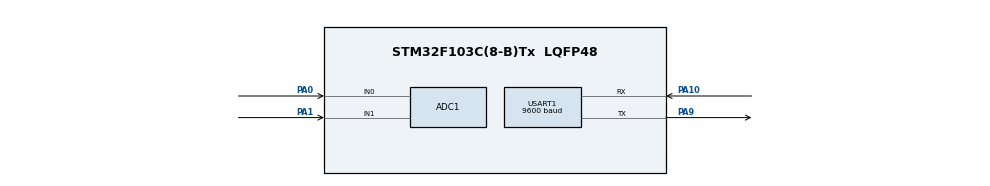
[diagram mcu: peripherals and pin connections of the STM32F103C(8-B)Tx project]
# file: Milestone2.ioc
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ADC1.Channel-0\#ChannelRegularConversion=ADC_CHANNEL_0
ADC1.ContinuousConvMode=DISABLE
ADC1.NbrOfConversionFlag=1
ADC1.Rank-0\#ChannelRegularConversion=1
ADC1.SamplingTime-0\#ChannelRegularConversion=ADC_SAMPLETIME_1CYCLE_5
ADC1.master=1
Mcu.Family=STM32F1
Mcu.Name=STM32F103C(8-B)Tx
Mcu.Package=LQFP48
NVIC.PriorityGroup=NVIC_PRIORITYGROUP_4
PA0-WKUP.Signal=ADCx_IN0
PA1.Signal=ADCx_IN1
PA10.Mode=Asynchronous
PA10.Signal=USART1_RX
PA9.Mode=Asynchronous
PA9.Signal=USART1_TX
ProjectManager.HeapSize=0x200
ProjectManager.StackSize=0x400
ProjectManager.TargetToolchain=STM32CubeIDE
RCC.APB1Freq_Value=8000000
RCC.APB2Freq_Value=8000000
SH.ADCx_IN0.0=ADC1_IN0,IN0
SH.ADCx_IN1.0=ADC1_IN1,IN1
USART1.BaudRate=9600
USART1.VirtualMode=VM_ASYNC
VP_SYS_VS_ND.Mode=No_Debug
board=custom

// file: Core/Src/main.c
/* USER CODE BEGIN Header */
/**
  ******************************************************************************
  * @file           : main.c
  * @brief          : Main program body
  ******************************************************************************
  * @attention
  *
  * Copyright (c) 2026 STMicroelectronics.
  * All rights reserved.
  *
  * This software is licensed under terms that can be found in the LICENSE file
  * in the root directory of this software component.
  * If no LICENSE file comes with this software, it is provided AS-IS.
  *
  ******************************************************************************
  */
/* USER CODE END Header */
#include "main.h"

/* USER CODE BEGIN Includes */
#include <stdio.h>
#include <string.h>

/* USER CODE END Includes */

ADC_HandleTypeDef hadc1;

UART_HandleTypeDef huart1;

void SystemClock_Config(void);
static void MX_GPIO_Init(void);
static void MX_ADC1_Init(void);
static void MX_USART1_UART_Init(void);

int main(void)
{

  /* MCU Configuration--------------------------------------------------------*/

  /* Reset of all peripherals, Initializes the Flash interface and the Systick. */
  HAL_Init();

  /* Configure the system clock */
  SystemClock_Config();

  /* Initialize all configured peripherals */
  MX_GPIO_Init();
  MX_ADC1_Init();
  MX_USART1_UART_Init();

  /* Infinite loop */
  while (1)
  {

    /* USER CODE BEGIN 3 */
	  {
	    ADC_ChannelConfTypeDef sConfig = {0};

	    // 1. Manually point the ADC to Channel 0 (Engine Temp)
	    sConfig.Channel = ADC_CHANNEL_0;
	    sConfig.Rank = 1;
	    sConfig.SamplingTime = ADC_SAMPLETIME_71CYCLES_5;
	    HAL_ADC_ConfigChannel(&hadc1, &sConfig);

	    // Read Engine Temp
	    HAL_ADC_Start(&hadc1);
	    HAL_ADC_PollForConversion(&hadc1, 100);
	    uint32_t raw_temp = HAL_ADC_GetValue(&hadc1);
	    HAL_ADC_Stop(&hadc1);

	    // 2. Manually point the ADC to Channel 1 (Throttle Position)
	    sConfig.Channel = ADC_CHANNEL_1;
	    HAL_ADC_ConfigChannel(&hadc1, &sConfig);

	    // Read Throttle
	    HAL_ADC_Start(&hadc1);
	    HAL_ADC_PollForConversion(&hadc1, 100);
	    uint32_t raw_throttle = HAL_ADC_GetValue(&hadc1);
	    HAL_ADC_Stop(&hadc1);

	    // 3. Scale the values
	    uint32_t engine_temp = (raw_temp * 150) / 4095;
	    uint32_t throttle = (raw_throttle * 100) / 4095;

	    // 4. Format into text and send via UART
	    char buffer[100];
	    int text_length = sprintf(buffer, "Engine Temp = %lu C | Throttle = %lu %%\r\n", engine_temp, throttle);
	    HAL_UART_Transmit(&huart1, (uint8_t*)buffer, text_length, 1000);

	    // 5. Short delay so it feels instantly "live"
	    HAL_Delay(100);
	  }
  }
  /* USER CODE END 3 */
}

void SystemClock_Config(void)
{
  RCC_OscInitTypeDef RCC_OscInitStruct = {0};
  RCC_ClkInitTypeDef RCC_ClkInitStruct = {0};
  RCC_PeriphCLKInitTypeDef PeriphClkInit = {0};

  /** Initializes the RCC Oscillators according to the specified parameters
  * in the RCC_OscInitTypeDef structure.
  */
  RCC_OscInitStruct.OscillatorType = RCC_OSCILLATORTYPE_HSI;
  RCC_OscInitStruct.HSIState = RCC_HSI_ON;
  RCC_OscInitStruct.HSICalibrationValue = RCC_HSICALIBRATION_DEFAULT;
  RCC_OscInitStruct.PLL.PLLState = RCC_PLL_NONE;
  if (HAL_RCC_OscConfig(&RCC_OscInitStruct) != HAL_OK)
  {
    Error_Handler();
  }

  /** Initializes the CPU, AHB and APB buses clocks
  */
  RCC_ClkInitStruct.ClockType = RCC_CLOCKTYPE_HCLK|RCC_CLOCKTYPE_SYSCLK
                              |RCC_CLOCKTYPE_PCLK1|RCC_CLOCKTYPE_PCLK2;
  RCC_ClkInitStruct.SYSCLKSource = RCC_SYSCLKSOURCE_HSI;
  RCC_ClkInitStruct.AHBCLKDivider = RCC_SYSCLK_DIV1;
  RCC_ClkInitStruct.APB1CLKDivider = RCC_HCLK_DIV1;
  RCC_ClkInitStruct.APB2CLKDivider = RCC_HCLK_DIV1;

  if (HAL_RCC_ClockConfig(&RCC_ClkInitStruct, FLASH_LATENCY_0) != HAL_OK)
  {
    Error_Handler();
  }
  PeriphClkInit.PeriphClockSelection = RCC_PERIPHCLK_ADC;
  PeriphClkInit.AdcClockSelection = RCC_ADCPCLK2_DIV2;
  if (HAL_RCCEx_PeriphCLKConfig(&PeriphClkInit) != HAL_OK)
  {
    Error_Handler();
  }
}

static void MX_ADC1_Init(void)
{

  ADC_ChannelConfTypeDef sConfig = {0};

  /** Common config
  */
  hadc1.Instance = ADC1;
  hadc1.Init.ScanConvMode = ADC_SCAN_DISABLE;
  hadc1.Init.ContinuousConvMode = DISABLE;
  hadc1.Init.DiscontinuousConvMode = DISABLE;
  hadc1.Init.ExternalTrigConv = ADC_SOFTWARE_START;
  hadc1.Init.DataAlign = ADC_DATAALIGN_RIGHT;
  hadc1.Init.NbrOfConversion = 1;
  if (HAL_ADC_Init(&hadc1) != HAL_OK)
  {
    Error_Handler();
  }

  /** Configure Regular Channel
  */
  sConfig.Channel = ADC_CHANNEL_0;
  sConfig.Rank = ADC_REGULAR_RANK_1;
  sConfig.SamplingTime = ADC_SAMPLETIME_1CYCLE_5;
  if (HAL_ADC_ConfigChannel(&hadc1, &sConfig) != HAL_OK)
  {
    Error_Handler();
  }

}

static void MX_USART1_UART_Init(void)
{

  huart1.Instance = USART1;
  huart1.Init.BaudRate = 9600;
  huart1.Init.WordLength = UART_WORDLENGTH_8B;
  huart1.Init.StopBits = UART_STOPBITS_1;
  huart1.Init.Parity = UART_PARITY_NONE;
  huart1.Init.Mode = UART_MODE_TX_RX;
  huart1.Init.HwFlowCtl = UART_HWCONTROL_NONE;
  huart1.Init.OverSampling = UART_OVERSAMPLING_16;
  if (HAL_UART_Init(&huart1) != HAL_OK)
  {
    Error_Handler();
  }

}

static void MX_GPIO_Init(void)
{

  /* GPIO Ports Clock Enable */
  __HAL_RCC_GPIOA_CLK_ENABLE();

}

void Error_Handler(void)
{
  __disable_irq();
  while (1)
  {
  }
}
